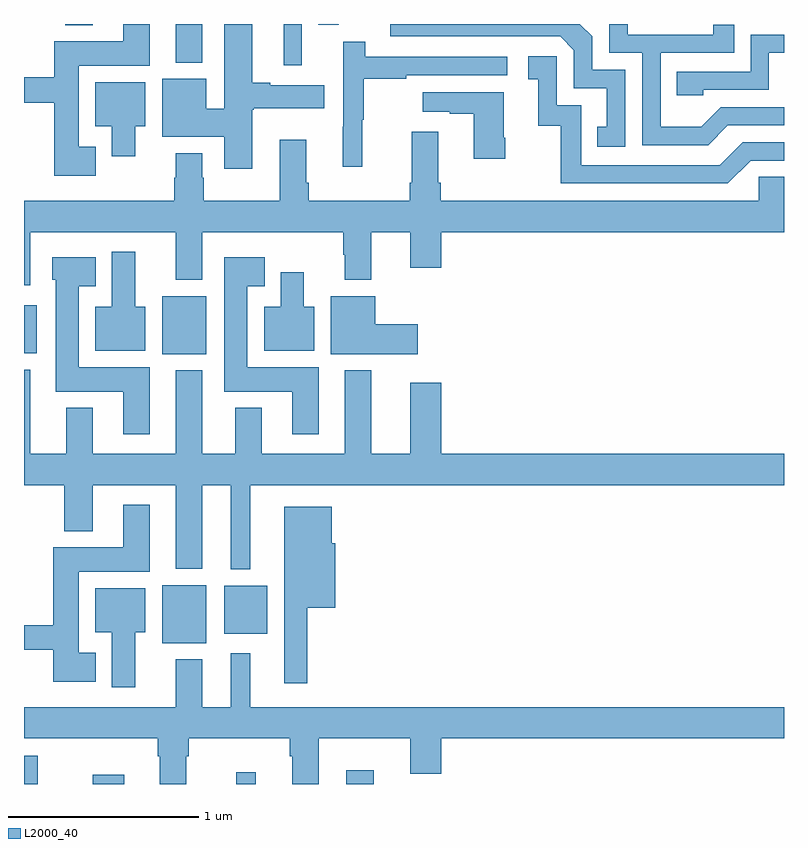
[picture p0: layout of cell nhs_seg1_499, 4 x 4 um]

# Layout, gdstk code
import gdstk
lib = gdstk.Library(unit=1e-6, precision=1e-09)
def R(c, l, rs):  # rectangles x0, y0, x1, y1
    for r in rs: c.add(gdstk.rectangle(r[:2], r[2:], *l))
def P(c, l, *ps):  # polygons
    for p in ps: c.add(gdstk.Polygon(p, *l))
L2000_40 = (2000, 40)

nhs_seg1_499 = lib.new_cell('nhs_seg1_499')
R(nhs_seg1_499, L2000_40, [(139,510.199,139.072,510.348), (139.363,510.199,139.528,510.247), (140.116,510.199,140.219,510.262), (140.696,510.199,140.842,510.271), (139.727,510.941,139.96,511.246), (140.054,510.989,140.281,511.243), (139.727,512.462,139.96,512.767), (139,512.465,139.066,512.719), (140.366,513.981,140.463,514.199), (139.799,513.995,139.939,514.199), (139.216,514.193,139.363,514.199), (140.548,514.194,140.656,514.199)])
P(nhs_seg1_499, L2000_40, [(142.705,513.666),(143,513.666),(143,513.762),(142.668,513.762),(142.564,513.658),(142.35,513.658),(142.35,514.047),(142.739,514.047),(142.739,514.195),(142.628,514.195),(142.628,514.143),(142.177,514.143),(142.177,514.199),(142.08,514.199),(142.08,514.047),(142.254,514.047),(142.254,513.561),(142.6,513.561)],
  [(142.164,513.957),(141.99,513.957),(141.99,514.134),(141.925,514.199),(140.928,514.199),(140.928,514.134),(141.822,514.134),(141.894,514.062),(141.894,513.861),(142.067,513.861),(142.067,513.657),(142.018,513.657),(142.018,513.552),(142.164,513.552)],
  [(140.2,513.748),(140.208,513.748),(140.208,513.755),(140.581,513.755),(140.581,513.877),(140.296,513.877),(140.296,513.89),(140.2,513.89),(140.2,514.199),(140.054,514.199),(140.054,513.752),(139.96,513.752),(139.96,513.91),(139.727,513.91),(139.727,513.605),(140.054,513.605),(140.054,513.438),(140.2,513.438)],
  [(139.378,513.553),(139.288,513.553),(139.288,513.98),(139.663,513.98),(139.663,514.199),(139.523,514.199),(139.523,514.108),(139.159,514.108),(139.159,513.92),(139,513.92),(139,513.784),(139.159,513.784),(139.159,513.401),(139.378,513.401)],
  [(142.575,513.852),(142.92,513.852),(142.92,514.047),(143,514.047),(143,514.143),(142.824,514.143),(142.824,513.948),(142.435,513.948),(142.435,513.825),(142.575,513.825)],
  [(140.78,513.696),(140.788,513.696),(140.788,513.91),(141.011,513.91),(141.011,513.93),(141.544,513.93),(141.544,514.026),(140.795,514.026),(140.795,514.105),(140.679,514.105),(140.679,513.659),(140.678,513.659),(140.678,513.447),(140.78,513.447)],
  [(142.824,513.48),(143,513.48),(143,513.576),(142.782,513.576),(142.662,513.456),(141.933,513.456),(141.933,513.771),(141.804,513.771),(141.804,514.03),(141.654,514.03),(141.654,513.909),(141.707,513.909),(141.707,513.663),(141.825,513.663),(141.825,513.36),(142.704,513.36)],
  [(139.585,513.662),(139.639,513.662),(139.639,513.892),(139.376,513.892),(139.376,513.662),(139.463,513.662),(139.463,513.504),(139.585,513.504)],
  [(141.534,513.601),(141.526,513.601),(141.526,513.841),(141.099,513.841),(141.099,513.737),(141.242,513.737),(141.242,513.727),(141.368,513.727),(141.368,513.489),(141.534,513.489)],
  [(139.799,513.52),(139.799,513.389),(139.792,513.389),(139.792,513.268),(139,513.268),(139,512.823),(139.033,512.823),(139.033,513.104),(139.799,513.104),(139.799,512.852),(139.939,512.852),(139.939,513.104),(140.68,513.104),(140.68,512.984),(140.687,512.984),(140.687,512.852),(140.827,512.852),(140.827,513.104),(141.032,513.104),(141.032,512.916),(141.196,512.916),(141.196,513.104),(143,513.104),(143,513.395),(142.866,513.395),(142.866,513.268),(141.194,513.268),(141.194,513.364),(141.181,513.364),(141.181,513.631),(141.041,513.631),(141.041,513.364),(141.029,513.364),(141.029,513.268),(140.498,513.268),(140.498,513.364),(140.485,513.364),(140.485,513.589),(140.345,513.589),(140.345,513.268),(139.947,513.268),(139.947,513.389),(139.939,513.389),(139.939,513.52)],
  [(139.639,512.71),(139.585,512.71),(139.585,513.001),(139.463,513.001),(139.463,512.71),(139.376,512.71),(139.376,512.48),(139.639,512.48)],
  [(139.663,512.392),(139.288,512.392),(139.288,512.819),(139.378,512.819),(139.378,512.971),(139.148,512.971),(139.148,512.853),(139.166,512.853),(139.166,512.264),(139.523,512.264),(139.523,512.04),(139.663,512.04)],
  [(140.551,512.392),(140.176,512.392),(140.176,512.819),(140.266,512.819),(140.266,512.971),(140.054,512.971),(140.054,512.264),(140.411,512.264),(140.411,512.04),(140.551,512.04)],
  [(140.527,512.71),(140.473,512.71),(140.473,512.893),(140.351,512.893),(140.351,512.71),(140.264,512.71),(140.264,512.48),(140.527,512.48)],
  [(141.073,512.62),(140.848,512.62),(140.848,512.767),(140.615,512.767),(140.615,512.462),(141.073,512.462)],
  [(140.191,511.772),(143,511.772),(143,511.936),(141.196,511.936),(141.196,512.311),(141.032,512.311),(141.032,511.936),(140.827,511.936),(140.827,512.377),(140.687,512.377),(140.687,511.936),(140.251,511.936),(140.251,512.179),(140.111,512.179),(140.111,511.936),(139.939,511.936),(139.939,512.377),(139.799,512.377),(139.799,511.936),(139.363,511.936),(139.363,512.179),(139.223,512.179),(139.223,511.936),(139.033,511.936),(139.033,512.38),(139,512.38),(139,511.772),(139.211,511.772),(139.211,511.529),(139.363,511.529),(139.363,511.772),(139.799,511.772),(139.799,511.331),(139.939,511.331),(139.939,511.772),(140.087,511.772),(140.087,511.328),(140.191,511.328)],
  [(139.378,510.889),(139.288,510.889),(139.288,511.316),(139.663,511.316),(139.663,511.669),(139.523,511.669),(139.523,511.444),(139.154,511.444),(139.154,511.034),(139,511.034),(139,510.906),(139.154,510.906),(139.154,510.737),(139.378,510.737)],
  [(140.491,511.127),(140.638,511.127),(140.638,511.467),(140.62,511.467),(140.62,511.657),(140.369,511.657),(140.369,510.729),(140.491,510.729)],
  [(139.585,510.998),(139.639,510.998),(139.639,511.228),(139.376,511.228),(139.376,510.998),(139.463,510.998),(139.463,510.708),(139.585,510.708)],
  [(139.855,510.344),(139.868,510.344),(139.868,510.44),(140.399,510.44),(140.399,510.344),(140.411,510.344),(140.411,510.199),(140.551,510.199),(140.551,510.44),(141.032,510.44),(141.032,510.252),(141.196,510.252),(141.196,510.44),(143,510.44),(143,510.604),(140.191,510.604),(140.191,510.886),(140.087,510.886),(140.087,510.604),(139.939,510.604),(139.939,510.856),(139.799,510.856),(139.799,510.604),(139,510.604),(139,510.44),(139.703,510.44),(139.703,510.344),(139.715,510.344),(139.715,510.199),(139.855,510.199)])

lib.write_gds('nhs_seg1_499.gds')
